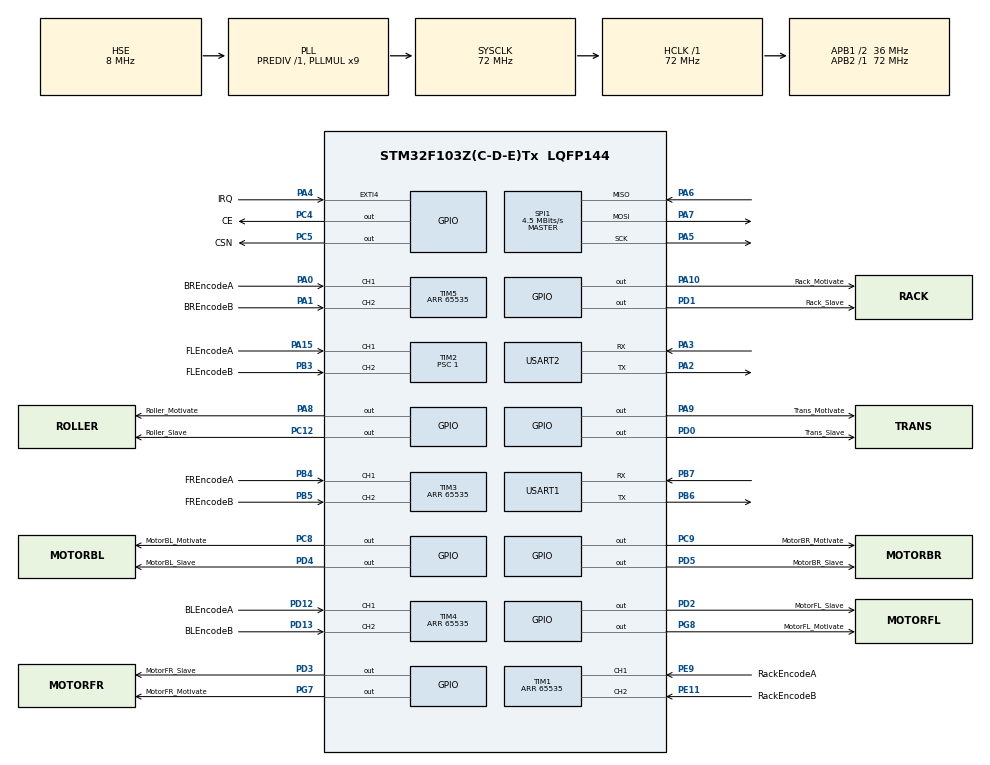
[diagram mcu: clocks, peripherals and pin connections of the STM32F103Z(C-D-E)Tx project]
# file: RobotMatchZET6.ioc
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Mcu.Family=STM32F1
Mcu.Name=STM32F103Z(C-D-E)Tx
Mcu.Package=LQFP144
NVIC.EXTI4_IRQn=true\:0\:0\:true\:false\:true\:true\:true\:true
NVIC.PriorityGroup=NVIC_PRIORITYGROUP_2
NVIC.TIM6_IRQn=true\:0\:0\:true\:false\:true\:true\:true\:true
NVIC.USART1_IRQn=true\:0\:0\:true\:false\:true\:true\:true\:true
OSC_IN.Mode=HSE-External-Oscillator
OSC_IN.Signal=RCC_OSC_IN
OSC_OUT.Mode=HSE-External-Oscillator
OSC_OUT.Signal=RCC_OSC_OUT
PA0-WKUP.GPIO_Label=BREncodeA
PA0-WKUP.Signal=S_TIM5_CH1
PA1.GPIO_Label=BREncodeB
PA1.Signal=S_TIM5_CH2
PA10.GPIO_Label=Rack_Motivate
PA10.Signal=GPIO_Output
PA15.GPIO_Label=FLEncodeA
PA15.Signal=S_TIM2_CH1_ETR
PA2.Mode=Asynchronous
PA2.Signal=USART2_TX
PA3.Mode=Asynchronous
PA3.Signal=USART2_RX
PA4.GPIO_Label=IRQ
PA4.GPIO_ModeDefaultEXTI=GPIO_MODE_IT_FALLING
PA4.Signal=GPXTI4
PA5.Mode=Full_Duplex_Master
PA5.Signal=SPI1_SCK
PA6.Mode=Full_Duplex_Master
PA6.Signal=SPI1_MISO
PA7.Mode=Full_Duplex_Master
PA7.Signal=SPI1_MOSI
PA8.GPIO_Label=Roller_Motivate
PA8.Signal=GPIO_Output
PA9.GPIO_Label=Trans_Motivate
PA9.Signal=GPIO_Output
PB3.GPIO_Label=FLEncodeB
PB3.Signal=S_TIM2_CH2
PB4.GPIO_Label=FREncodeA
PB4.Signal=S_TIM3_CH1
PB5.GPIO_Label=FREncodeB
PB5.Signal=S_TIM3_CH2
PB6.Mode=Asynchronous
PB6.Signal=USART1_TX
PB7.Mode=Asynchronous
PB7.Signal=USART1_RX
PC12.GPIO_Label=Roller_Slave
PC12.Signal=GPIO_Output
PC14-OSC32_IN.Mode=LSE-External-Oscillator
PC14-OSC32_IN.Signal=RCC_OSC32_IN
PC15-OSC32_OUT.Mode=LSE-External-Oscillator
PC15-OSC32_OUT.Signal=RCC_OSC32_OUT
PC4.GPIO_Label=CE
PC4.Signal=GPIO_Output
PC5.GPIO_Label=CSN
PC5.Signal=GPIO_Output
PC8.GPIO_Label=MotorBL_Motivate
PC8.Signal=GPIO_Output
PC9.GPIO_Label=MotorBR_Motivate
PC9.Signal=GPIO_Output
PD0.GPIO_Label=Trans_Slave
PD0.Signal=GPIO_Output
PD1.GPIO_Label=Rack_Slave
PD1.Signal=GPIO_Output
PD12.GPIO_Label=BLEncodeA
PD12.Signal=S_TIM4_CH1
PD13.GPIO_Label=BLEncodeB
PD13.Signal=S_TIM4_CH2
PD2.GPIO_Label=MotorFL_Slave
PD2.Signal=GPIO_Output
PD3.GPIO_Label=MotorFR_Slave
PD3.Signal=GPIO_Output
PD4.GPIO_Label=MotorBL_Slave
PD4.Signal=GPIO_Output
PD5.GPIO_Label=MotorBR_Slave
PD5.Signal=GPIO_Output
PE11.GPIO_Label=RackEncodeB
PE11.Signal=S_TIM1_CH2
PE9.GPIO_Label=RackEncodeA
PE9.Signal=S_TIM1_CH1
PG7.GPIO_Label=MotorFR_Motivate
PG7.Signal=GPIO_Output
PG8.GPIO_Label=MotorFL_Motivate
PG8.Signal=GPIO_Output
ProjectManager.HeapSize=0x200
ProjectManager.StackSize=0x400
ProjectManager.TargetToolchain=STM32CubeIDE
RCC.AHBFreq_Value=72000000
RCC.APB1CLKDivider=RCC_HCLK_DIV2
RCC.APB1Freq_Value=36000000
RCC.APB1TimFreq_Value=72000000
RCC.APB2Freq_Value=72000000
RCC.APB2TimFreq_Value=72000000
RCC.HCLKFreq_Value=72000000
RCC.PLLMUL=RCC_PLL_MUL9
RCC.PLLSourceVirtual=RCC_PLLSOURCE_HSE
RCC.SYSCLKFreq_VALUE=72000000
RCC.SYSCLKSource=RCC_SYSCLKSOURCE_PLLCLK
RCC.USBFreq_Value=72000000
SH.S_TIM1_CH1.0=TIM1_CH1,Encoder_Interface
SH.S_TIM1_CH2.0=TIM1_CH2,Encoder_Interface
SH.S_TIM2_CH1_ETR.0=TIM2_CH1,Encoder_Interface
SH.S_TIM2_CH2.0=TIM2_CH2,Encoder_Interface
SH.S_TIM3_CH1.0=TIM3_CH1,Encoder_Interface
SH.S_TIM3_CH2.0=TIM3_CH2,Encoder_Interface
SH.S_TIM4_CH1.0=TIM4_CH1,Encoder_Interface
SH.S_TIM4_CH2.0=TIM4_CH2,Encoder_Interface
SH.S_TIM5_CH1.0=TIM5_CH1,Encoder_Interface
SH.S_TIM5_CH2.0=TIM5_CH2,Encoder_Interface
SPI1.BaudRatePrescaler=SPI_BAUDRATEPRESCALER_16
SPI1.CalculateBaudRate=4.5 MBits/s
SPI1.Direction=SPI_DIRECTION_2LINES
SPI1.Mode=SPI_MODE_MASTER
SPI1.VirtualType=VM_MASTER
TIM1.EncoderMode=TIM_ENCODERMODE_TI12
TIM1.Period=65535
TIM2.EncoderMode=TIM_ENCODERMODE_TI12
TIM2.Period=65535
TIM2.Prescaler=1
TIM3.EncoderMode=TIM_ENCODERMODE_TI12
TIM3.Period=65535
TIM4.EncoderMode=TIM_ENCODERMODE_TI12
TIM4.Period=65535
TIM5.EncoderMode=TIM_ENCODERMODE_TI12
TIM5.Period=65535
TIM6.Period=10000-1
TIM6.Prescaler=72-1
USART1.VirtualMode=VM_ASYNC
USART2.VirtualMode=VM_ASYNC
VP_SYS_VS_ND.Mode=No_Debug
VP_TIM6_VS_ClockSourceINT.Mode=Enable_Timer
board=custom

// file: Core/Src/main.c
/* USER CODE BEGIN Header */
/**
  ******************************************************************************
  * @file           : main.c
  * @brief          : Main program body
  ******************************************************************************
  * @attention
  *
  * Copyright (c) 2024 STMicroelectronics.
  * All rights reserved.
  *
  * This software is licensed under terms that can be found in the LICENSE file
  * in the root directory of this software component.
  * If no LICENSE file comes with this software, it is provided AS-IS.
  *
  ******************************************************************************
  */
/* USER CODE END Header */
#include "main.h"
#include "spi.h"
#include "tim.h"
#include "usart.h"
#include "gpio.h"

/* USER CODE BEGIN Includes */
#include "motorcontrol.h"
#include "nrf24l01.h"
#include "encode.h"
#include "servocontrol.h"
/* USER CODE END Includes */

/* USER CODE BEGIN PD */
unsigned char Shovel_Manual_State = 0;
unsigned char Detect_Mode_State = 0;
unsigned char Platform_Mode_State = 0;
unsigned char NRF_Rxbuf[32] = {0};
unsigned char Menu_State = 0x00;
unsigned char Slave_Send_State = 0x00;
uint8_t UART_Rxbuf[1] = {0};
extern Motor MotorFL, MotorFR, MotorBL, MotorBR;
extern Motor_Rack Rack;
uint8_t PIDCalculate_State = 0;

void HAL_GPIO_EXTI_Callback(uint16_t GPIO_Pin)
{
    if (GPIO_Pin == IRQ_Pin)
    {
        NRF_RX_Packet(NRF_Rxbuf);
    }
}

float Speed_Resize_L(uint8_t State)
{
    switch (State)
    {
        case 0:
        case 1:
        case 15:
        case 16:
        case 2:
        case 13:
        case 14:
            return 6;
        case 3:
        case 11:
        case 12:
            return 2;
        case 4:
        case 5:
        case 9:
        case 10:
            return (float) 0.6;
        default:
            return 0;
    }
}

/* USER CODE END PD */

void SystemClock_Config(void);

int main(void)
{

    /* MCU Configuration--------------------------------------------------------*/

    /* Reset of all peripherals, Initializes the Flash interface and the Systick. */
    HAL_Init();

    /* Configure the system clock */
    SystemClock_Config();

    /* Initialize all configured peripherals */
    MX_GPIO_Init();
    MX_SPI1_Init();
    MX_TIM1_Init();
    MX_TIM2_Init();
    MX_TIM3_Init();
    MX_TIM4_Init();
    MX_TIM5_Init();
    MX_TIM6_Init();
    MX_USART1_UART_Init();
    MX_USART2_UART_Init();
    /* USER CODE BEGIN 2 */
    unsigned char State_L_UD, State_L_LR, State_R_UD, State_R_LR = 0;
    unsigned char Roller_Realtime_Control = 0;
    unsigned char Boost_State = 0;
    NRF_Init();
    HAL_UART_Init(&huart1);
    HAL_UART_Init(&huart2);
    Motor_Init();
    HAL_Delay(20);
    NRF_Check();
    NRF_RX_Mode();
    HAL_UART_Receive_IT(&huart1, (uint8_t *) UART_Rxbuf, 1);
    MotorEncode_Init();
    HAL_Delay(100);
//    HAL_UART_Transmit(&huart1,&Reset_Sign,1,0xff);
//    HAL_UART_Transmit(&huart1,&Reset_Sign,1,0xff);
//    HAL_UART_Transmit(&huart1,&Reset_Sign,1,0xff);

    /* USER CODE END 2 */

    /* Infinite loop */
    /* USER CODE BEGIN WHILE */
    while (1)
    {
        State_L_LR = NRF_Rxbuf[0];
        State_L_UD = NRF_Rxbuf[1];
        State_R_UD = NRF_Rxbuf[2];
        State_R_LR = NRF_Rxbuf[3];
        Menu_State = NRF_Rxbuf[31];
        switch (Menu_State)
        {
            case 0x18:
            {
                Shovel_Manual_State = 1;
                break;
            }
            case 0x19:
            {
                Shovel_Manual_State = 0;
                break;
            }
            case 0x20:
            {
                Detect_Mode_State = 0;
                break;
            }
            case 0x21:
            {
                Detect_Mode_State = 1;
                break;
            }
            case 0x2C:
            {
                Slave_Send_State = 0x2C;
                Platform_Mode_State = 0;
                break;
            }
            case 0x2D:
            {
                Platform_Mode_State = 1;
                break;
            }
            case 0x34:
            {
                Roller_Realtime_Control = 0;
                break;
            }
            case 0x35:
            {
                Roller_Realtime_Control = 1;
                break;
            }
            case 0x0C:
            {
                Trans_Seize();
                break;
            }
            case 0x0D:
            {
                Trans_Run();
                break;
            }
            case 0x38:
            {
                Slave_Send_State = 0x38;
                Boost_State = 0;
                break;
            }
            case 0x39:
            {
                Slave_Send_State = 0x39;
                Boost_State = 1;
                break;
            }
            default:
            {
            }

        }
        if (State_L_LR != 0 && State_L_UD != 0)
        {
            if (State_L_UD >= 9 && State_L_LR <= 8 && State_L_LR >= 6)
            {
                Car_Forward();
                Set_Target_Speed(Speed_Resize_L(State_L_UD));
            } else if (State_L_UD <= 5 && State_L_LR <= 8 && State_L_LR >= 6)
            {
                Car_Backward();
                Set_Target_Speed(Speed_Resize_L(State_L_UD));
            } else if (State_L_UD <= 8 && State_L_UD >= 6 && State_L_LR <= 8 && State_L_LR >= 6 && State_R_LR >= 5 &&
                       State_R_LR <= 8)
            {
                Car_Seize();
                Set_Target_Speed(0);
            } else if (State_L_UD <= 8 && State_L_UD >= 6 && State_L_LR <= 5)
            {
                Car_Leftward();
                Set_Target_Speed((float )0.6);
            } else if (State_L_UD <= 8 && State_L_UD >= 6 && State_L_LR >= 9)
            {
                Car_Rightward();
                Set_Target_Speed((float )0.6);
            } else if (Shovel_Manual_State == 0 && Platform_Mode_State == 0)
            {
                if (State_R_LR <= 3)
                {
                    Car_Counter_Clockwise();
                    Set_Target_Speed((float )0.6
                    );
                } else if (State_R_LR >= 13)
                {
                    Car_Clockwise();
                    Set_Target_Speed((float )0.6);
                }
            }
        }
        if (Shovel_Manual_State == 1)
        {
            if (State_R_LR <= 3)
            {
                Rack_Backward();
            } else if (State_R_LR >= 13)
            {
                Rack_Forward();
            } else if (State_R_LR >= 4 && State_R_LR <= 12 && State_R_UD >= 4 && State_R_UD <= 12)
            {
                Rack_Seize();
            } else if (State_R_UD <= 3)
            {
                Slave_Send_State = 0x24;
            } else if (State_R_UD >= 13)
            {
                Slave_Send_State = 0x25;
            }
        }

        if (Platform_Mode_State == 1)
        {
            if (State_R_LR <= 3)
            {
                Sustainer_Down();
            } else if (State_R_LR >= 13)
            {
                Sustainer_Up();
            } else if (State_R_UD <= 3)
            {
                Roller_Down();
            } else if (State_R_UD >= 13)
            {
                Roller_Up();
            }
        }

        if (Detect_Mode_State == 1)
        {
            Slave_Send_State = 0x21;
        }

        if (Menu_State == 0x05)
        {
            Roller_Forward();

        } else if (Menu_State == 0x04)
        {
            Roller_Seize();
        }
        if (Roller_Realtime_Control == 1 || Boost_State == 1)
        {
            if (State_R_UD >= 13)
            {
                Slave_Send_State = 0x31;
            } else if (State_R_UD <= 4)
            {
                Slave_Send_State = 0x30;
            }
        }

        if (PIDCalculate_State == 1 && Boost_State != 1)
        {
            PID_Calculate(&MotorFL);
            PID_Calculate(&MotorFR);
            PID_Calculate(&MotorBL);
            PID_Calculate(&MotorBR);
            PIDCalculate_State = 0;
        }

/* USER CODE END WHILE */

    }
}

void SystemClock_Config(void)
{
    RCC_OscInitTypeDef RCC_OscInitStruct = {0};
    RCC_ClkInitTypeDef RCC_ClkInitStruct = {0};

    /** Initializes the RCC Oscillators according to the specified parameters
    * in the RCC_OscInitTypeDef structure.
    */
    RCC_OscInitStruct.OscillatorType = RCC_OSCILLATORTYPE_HSE;
    RCC_OscInitStruct.HSEState = RCC_HSE_ON;
    RCC_OscInitStruct.HSEPredivValue = RCC_HSE_PREDIV_DIV1;
    RCC_OscInitStruct.HSIState = RCC_HSI_ON;
    RCC_OscInitStruct.PLL.PLLState = RCC_PLL_ON;
    RCC_OscInitStruct.PLL.PLLSource = RCC_PLLSOURCE_HSE;
    RCC_OscInitStruct.PLL.PLLMUL = RCC_PLL_MUL9;
    if (HAL_RCC_OscConfig(&RCC_OscInitStruct) != HAL_OK)
    {
        Error_Handler();
    }

    /** Initializes the CPU, AHB and APB buses clocks
    */
    RCC_ClkInitStruct.ClockType = RCC_CLOCKTYPE_HCLK | RCC_CLOCKTYPE_SYSCLK
                                  | RCC_CLOCKTYPE_PCLK1 | RCC_CLOCKTYPE_PCLK2;
    RCC_ClkInitStruct.SYSCLKSource = RCC_SYSCLKSOURCE_PLLCLK;
    RCC_ClkInitStruct.AHBCLKDivider = RCC_SYSCLK_DIV1;
    RCC_ClkInitStruct.APB1CLKDivider = RCC_HCLK_DIV2;
    RCC_ClkInitStruct.APB2CLKDivider = RCC_HCLK_DIV1;

    if (HAL_RCC_ClockConfig(&RCC_ClkInitStruct, FLASH_LATENCY_2) != HAL_OK)
    {
        Error_Handler();
    }
}

void Error_Handler(void)
{
    __disable_irq();
    while (1)
    {
    }
}
